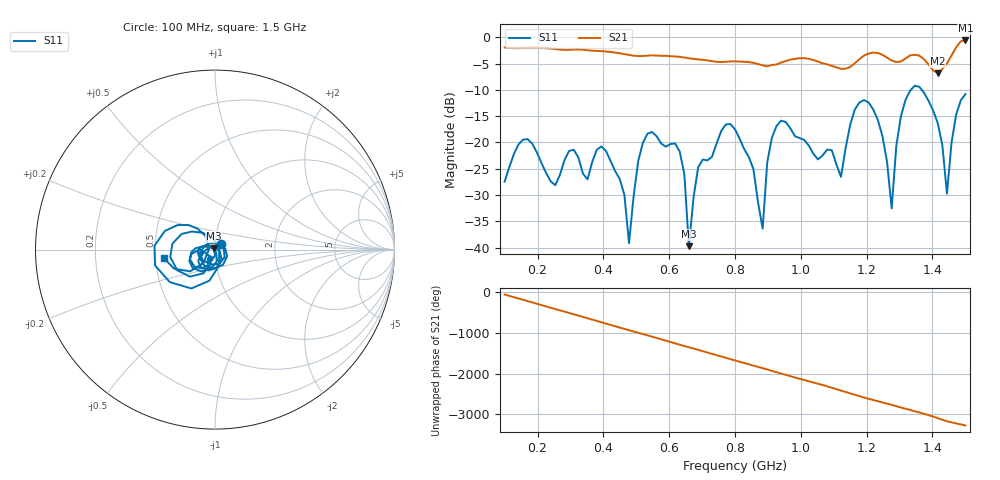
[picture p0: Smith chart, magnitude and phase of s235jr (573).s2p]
! NanoVNA-App
! Date: 2025-09-25 15:08:37
! Start: 100MHz Stop: 1,5GHz Points: 101
! S-Parameter data: F S11 S21 S12 S22
# Hz S RI R 50
!  Frequency  S11_Real  S11_Imag  S21_Real  S21_Imag  S12_Real  S12_Imag  S22_Real  S22_Imag
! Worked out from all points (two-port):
!   101 points, 100 MHz to 1.5 GHz, reference 50 ohm
!   highest |S21| = -0.62 dB at 1.5 GHz (marker M1); lowest = -6.8 dB at 1.416 GHz (marker M2)
!   |S21| within 3 dB of the highest: start of sweep to 605.5 MHz; 1.189 GHz to 1.255 GHz (65.62 MHz wide, 5.37 % of centre) (the widest 2 of 4)
!   lowest |S11| = -39.7 dB at 660 MHz (marker M3), VSWR 1.02, Z = 49.2 + j0.645 ohm
!   |S11| at or under -10 dB: start of sweep to 1.335 GHz; 1.367 GHz to end of sweep
!   S12 and S22 are empty: the file has one direction only
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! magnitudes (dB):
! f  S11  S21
! 100 MHz  -27.5  -2.0
! 156 MHz  -19.5  -2.0
! 338 MHz  -25.9  -2.4
! 408 MHz  -21.6  -2.7
! 478 MHz  -39.2  -3.4
! 520 MHz  -20.1  -3.6
! 576 MHz  -20.2  -3.5
! 632 MHz  -21.7  -3.7
! 660 MHz  -39.7  -4.0
! 688 MHz  -24.7  -4.2
! 800 MHz  -17.5  -4.6
! 884 MHz  -36.4  -5.4
! 926 MHz  -16.9  -5.2
! 1.038 GHz  -22.2  -4.3
! 1.122 GHz  -26.6  -6.0
! 1.206 GHz  -12.4  -3.1
! 1.276 GHz  -32.6  -4.4
! 1.304 GHz  -15.1  -4.6
! 1.332 GHz  -10.2  -3.5
! 1.416 GHz  -16.3  -6.8
! 1.444 GHz  -29.8  -5.0
! 1.5 GHz  -10.8  -0.6
